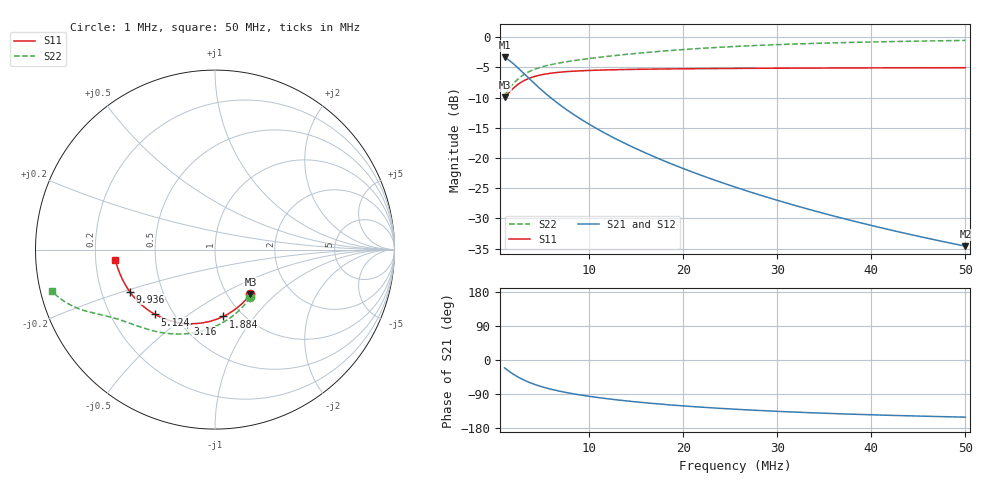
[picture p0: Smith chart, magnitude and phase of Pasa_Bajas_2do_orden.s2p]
! Created Thu Nov 16 11:37:42 2023
# mhz S ri R 50
! 2 Port Network Data from SP1.SP block
! freq  reS11  imS11  reS21  imS21  reS12  imS12  reS22  imS22
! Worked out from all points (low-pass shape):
!   500 points, 1 MHz to 50 MHz, reference 50 ohm
!   highest |S21| = -3.33 dB at 1 MHz (marker M1); lowest = -34.6 dB at 50 MHz (marker M2)
!   |S21| within 3 dB of the highest: start of sweep to 3.246 MHz
!   lowest |S11| = -10.0 dB at 1 MHz (marker M3), VSWR 1.93, Z = 63.7 - j35.2 ohm
!   |S11| at or under -10 dB: nowhere
!   |S22| runs from -9.6 to -0.6 dB; largest |S21 - S12| = 0
!   S11 on the Smith chart (normalised r, x): 1 MHz: 1.27, -0.70; 1.884 MHz: 0.82, -0.71; 3.16 MHz: 0.54, -0.55; 5.124 MHz: 0.40, -0.38; 9.936 MHz: 0.32, -0.21; 50 MHz: 0.28, -0.05
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1  0.1976 -0.2482  0.6367 -0.2432  0.6367 -0.2432  0.1969 -0.2664
1.196393  0.1668 -0.2846  0.606 -0.2786  0.606 -0.2786  0.1657 -0.3063
1.490982  0.1165 -0.3296  0.5558 -0.322  0.5558 -0.322  0.1148 -0.3566
1.883768  0.0465 -0.3722  0.4861 -0.3627  0.4861 -0.3627  0.0438 -0.4063
2.472946  -0.0539 -0.4055  0.3862 -0.393  0.3862 -0.393  -0.0586 -0.45
3.160321  -0.1538 -0.4125  0.2871 -0.3967  0.2871 -0.3967  -0.1613 -0.469
4.044088  -0.2515 -0.3957  0.1906 -0.3756  0.1906 -0.3756  -0.2636 -0.4671
4.53507  -0.293 -0.3809  0.15 -0.3585  0.15 -0.3585  -0.3081 -0.4603
5.124249  -0.3333 -0.3614  0.1107 -0.3363  0.1107 -0.3363  -0.3524 -0.4503
5.90982  -0.3747 -0.3353  0.071 -0.3068  0.071 -0.3068  -0.3997 -0.4364
6.891784  -0.4123 -0.3051  0.0358 -0.2725  0.0358 -0.2725  -0.4455 -0.4206
7.971944  -0.4415 -0.2761  0.00938 -0.2393  0.00938 -0.2393  -0.4848 -0.4063
9.248497  -0.4656 -0.2473  -0.0111 -0.206  -0.0111 -0.206  -0.5219 -0.3934
9.935872  -0.4755 -0.2339  -0.0189 -0.1904  -0.0189 -0.1904  -0.5391 -0.3879
13.37275  -0.5065 -0.1839  -0.0387 -0.1315  -0.0387 -0.1315  -0.6094 -0.3693
17.3988  -0.5243 -0.1473  -0.0433 -0.0886  -0.0433 -0.0886  -0.6741 -0.3547
21.32665  -0.5342 -0.1237  -0.0412 -0.0623  -0.0412 -0.0623  -0.7261 -0.3407
25.5491  -0.5409 -0.1057  -0.0368 -0.0439  -0.0368 -0.0439  -0.7722 -0.324
29.47695  -0.5452 -0.0932  -0.0324 -0.0325  -0.0324 -0.0325  -0.8072 -0.3075
33.6994  -0.5485 -0.0827  -0.028 -0.0241  -0.028 -0.0241  -0.8377 -0.2897
41.8497  -0.5528 -0.0679  -0.0212 -0.0143  -0.0212 -0.0143  -0.8811 -0.2572
50  -0.5554 -0.0576  -0.0163 -0.00909  -0.0163 -0.00909  -0.9102 -0.2288
